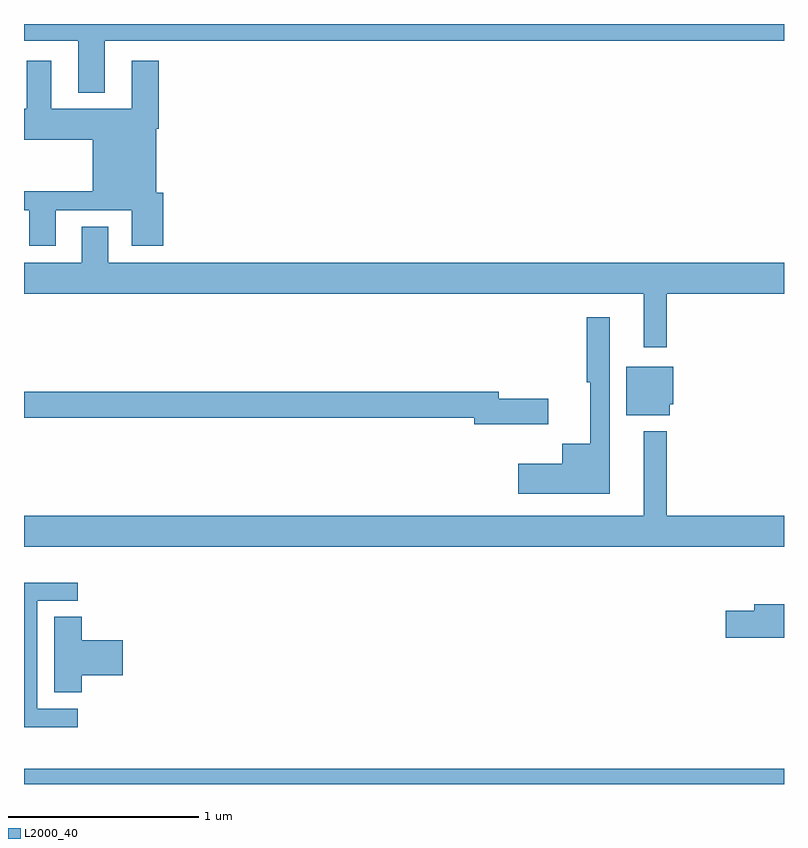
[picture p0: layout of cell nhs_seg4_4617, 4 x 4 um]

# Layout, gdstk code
import gdstk
lib = gdstk.Library(unit=1e-6, precision=1e-09)
def R(c, l, rs):  # rectangles x0, y0, x1, y1
    for r in rs: c.add(gdstk.rectangle(r[:2], r[2:], *l))
def P(c, l, *ps):  # polygons
    for p in ps: c.add(gdstk.Polygon(p, *l))
L2000_40 = (2000, 40)

nhs_seg4_4617 = lib.new_cell('nhs_seg4_4617')
R(nhs_seg4_4617, L2000_40, [(359,800.9,363,800.98)])
P(nhs_seg4_4617, L2000_40, [(359.425,804.812),(363,804.812),(363,804.9),(359,804.9),(359,804.812),(359.285,804.812),(359.285,804.539),(359.425,804.539)],
  [(359.167,803.919),(359.567,803.919),(359.567,803.733),(359.732,803.733),(359.732,804.012),(359.695,804.012),(359.695,804.35),(359.708,804.35),(359.708,804.706),(359.567,804.706),(359.567,804.454),(359.143,804.454),(359.143,804.706),(359.015,804.706),(359.015,804.454),(359,804.454),(359,804.29),(359.363,804.29),(359.363,804.02),(359,804.02),(359,803.919),(359.027,803.919),(359.027,803.733),(359.167,803.733)],
  [(362.383,803.48),(363,803.48),(363,803.644),(359.443,803.644),(359.443,803.834),(359.303,803.834),(359.303,803.644),(359,803.644),(359,803.48),(362.261,803.48),(362.261,803.199),(362.383,803.199)],
  [(362.083,803.356),(361.962,803.356),(361.962,803.015),(361.979,803.015),(361.979,802.69),(361.832,802.69),(361.832,802.585),(361.602,802.585),(361.602,802.427),(362.083,802.427)],
  [(362.398,802.899),(362.416,802.899),(362.416,803.095),(362.171,803.095),(362.171,802.841),(362.398,802.841)],
  [(361.759,802.928),(361.498,802.928),(361.498,802.964),(359,802.964),(359,802.828),(361.37,802.828),(361.37,802.793),(361.759,802.793)],
  [(363,802.312),(362.383,802.312),(362.383,802.756),(362.261,802.756),(362.261,802.312),(359,802.312),(359,802.148),(363,802.148)],
  [(359.284,801.297),(359.07,801.297),(359.07,801.864),(359.284,801.864),(359.284,801.96),(359,801.96),(359,801.199),(359.284,801.199)],
  [(363,801.847),(362.843,801.847),(362.843,801.813),(362.694,801.813),(362.694,801.671),(363,801.671)],
  [(359.303,801.473),(359.521,801.473),(359.521,801.656),(359.303,801.656),(359.303,801.779),(359.159,801.779),(359.159,801.382),(359.303,801.382)])

lib.write_gds('nhs_seg4_4617.gds')
